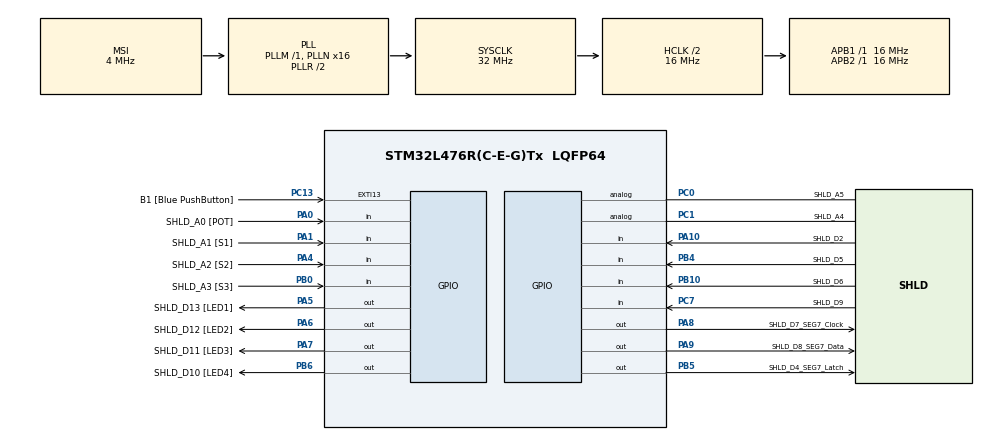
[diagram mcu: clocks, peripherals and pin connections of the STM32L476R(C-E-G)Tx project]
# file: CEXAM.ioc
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Mcu.Family=STM32L4
Mcu.Name=STM32L476R(C-E-G)Tx
Mcu.Package=LQFP64
NVIC.PriorityGroup=NVIC_PRIORITYGROUP_4
PA0.GPIO_Label=SHLD_A0 [POT]
PA0.Signal=GPIO_Input
PA1.GPIO_Label=SHLD_A1 [S1]
PA1.GPIO_PuPd=GPIO_PULLUP
PA1.Signal=GPIO_Input
PA10.GPIO_Label=SHLD_D2
PA10.Signal=GPIO_Input
PA13\ (JTMS-SWDIO).GPIO_Label=TMS
PA13\ (JTMS-SWDIO).Mode=Serial_Wire
PA13\ (JTMS-SWDIO).Signal=SYS_JTMS-SWDIO
PA14\ (JTCK-SWCLK).GPIO_Label=TCK
PA14\ (JTCK-SWCLK).Mode=Serial_Wire
PA14\ (JTCK-SWCLK).Signal=SYS_JTCK-SWCLK
PA2.GPIO_Label=USART_TX [SHLD_D1]
PA2.GPIO_Mode=GPIO_MODE_AF_PP
PA2.GPIO_PuPd=GPIO_NOPULL
PA2.GPIO_Speed=GPIO_SPEED_FREQ_VERY_HIGH
PA2.Signal=USART2_TX
PA3.GPIO_Label=USART_RX [SHLD_D0]
PA3.GPIO_Mode=GPIO_MODE_AF_PP
PA3.GPIO_PuPd=GPIO_NOPULL
PA3.GPIO_Speed=GPIO_SPEED_FREQ_VERY_HIGH
PA3.Signal=USART2_RX
PA4.GPIO_Label=SHLD_A2 [S2]
PA4.GPIO_PuPd=GPIO_PULLUP
PA4.Signal=GPIO_Input
PA5.GPIO_Label=SHLD_D13 [LED1]
PA5.PinState=GPIO_PIN_SET
PA5.Signal=GPIO_Output
PA6.GPIO_Label=SHLD_D12 [LED2]
PA6.PinState=GPIO_PIN_SET
PA6.Signal=GPIO_Output
PA7.GPIO_Label=SHLD_D11 [LED3]
PA7.PinState=GPIO_PIN_SET
PA7.Signal=GPIO_Output
PA8.GPIO_Label=SHLD_D7_SEG7_Clock
PA8.PinState=GPIO_PIN_SET
PA8.Signal=GPIO_Output
PA9.GPIO_Label=SHLD_D8_SEG7_Data
PA9.GPIO_ModeDefaultOutputPP=GPIO_MODE_OUTPUT_PP
PA9.GPIO_Speed=GPIO_SPEED_FREQ_MEDIUM
PA9.PinState=GPIO_PIN_SET
PA9.Signal=GPIO_Output
PB0.GPIO_Label=SHLD_A3 [S3]
PB0.GPIO_PuPd=GPIO_PULLUP
PB0.Signal=GPIO_Input
PB10.GPIO_Label=SHLD_D6
PB10.Signal=GPIO_Input
PB3\ (JTDO-TRACESWO).Signal=SYS_JTDO-SWO
PB4\ (NJTRST).GPIO_Label=SHLD_D5
PB4\ (NJTRST).Signal=GPIO_Input
PB5.GPIO_Label=SHLD_D4_SEG7_Latch
PB5.GPIO_Speed=GPIO_SPEED_FREQ_HIGH
PB5.PinState=GPIO_PIN_SET
PB5.Signal=GPIO_Output
PB6.GPIO_FM6=__NULL
PB6.GPIO_Label=SHLD_D10 [LED4]
PB6.PinState=GPIO_PIN_SET
PB6.Signal=GPIO_Output
PB8.GPIO_Label=SHLD_D15
PB8.Signal=I2C1_SCL
PB9.GPIO_Label=SHLD_D14
PB9.Signal=I2C1_SDA
PC0.GPIO_Label=SHLD_A5
PC0.Signal=GPIO_Analog
PC1.GPIO_Label=SHLD_A4
PC1.Signal=SharedAnalog_PC1
PC13.GPIO_Label=B1 [Blue PushButton]
PC13.GPIO_ModeDefaultEXTI=GPIO_MODE_IT_FALLING
PC13.GPIO_PuPd=GPIO_NOPULL
PC13.Signal=GPXTI13
PC14-OSC32_IN\ (PC14).Mode=LSE-External-Oscillator
PC14-OSC32_IN\ (PC14).Signal=RCC_OSC32_IN
PC15-OSC32_OUT\ (PC15).Mode=LSE-External-Oscillator
PC15-OSC32_OUT\ (PC15).Signal=RCC_OSC32_OUT
PC7.GPIO_Label=SHLD_D9
PC7.Signal=GPIO_Input
PH0-OSC_IN\ (PH0).Signal=RCC_OSC_IN
PH1-OSC_OUT\ (PH1).Signal=RCC_OSC_OUT
ProjectManager.HeapSize=0x200
ProjectManager.StackSize=0x400
ProjectManager.TargetToolchain=STM32CubeIDE
RCC.ADCFreq_Value=16000000
RCC.AHBCLKDivider=RCC_SYSCLK_DIV2
RCC.AHBFreq_Value=16000000
RCC.APB1Freq_Value=16000000
RCC.APB1TimFreq_Value=16000000
RCC.APB2Freq_Value=16000000
RCC.APB2TimFreq_Value=16000000
RCC.CortexFreq_Value=16000000
RCC.HCLKFreq_Value=16000000
RCC.HSE_VALUE=8000000
RCC.HSI_VALUE=16000000
RCC.MSI_VALUE=4000000
RCC.PLLN=16
RCC.PREFETCH_ENABLE=1
RCC.SYSCLKFreq_VALUE=32000000
RCC.SYSCLKSource=RCC_SYSCLKSOURCE_PLLCLK
RCC.USBFreq_Value=16000000
RCC.VCOOutputFreq_Value=64000000
SH.SharedAnalog_PC1.0=GPIO_Analog
SH.SharedAnalog_PC1.1=ADC1_IN2
TIM2.Prescaler=15999
VP_TIM2_VS_ClockSourceINT.Mode=Internal
board=NUCLEO-L476RG

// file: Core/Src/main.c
/* USER CODE BEGIN Header */
/**
  ******************************************************************************
  * @file           : main.c
  * @brief          : 563 EXAM
  ******************************************************************************
  * @attention
  *
  *  Please Read all instructions and only put your code in the areas provided
  *
  ******************************************************************************
  */
/* USER CODE END Header */
#include "main.h"

/* USER CODE BEGIN Includes */
#include "stdlib.h"
#include "ctype.h"
#include "stdio.h"

/* USER CODE END Includes */

TIM_HandleTypeDef htim2;

void SystemClock_Config(void);
static void MX_GPIO_Init(void);
static void MX_TIM2_Init(void);

/* USER CODE BEGIN 0 */

// function prototypes for programming examination functions -- do not change
void function_one( void ) ;
void function_two( void ) ;
void function_three( void ) ;

// Checks for Button key presses
// Calls function_one when the S1 button is pressed.
// Calls function_two when the S2 button is pressed.
//
// DO NOT CHANGE this function.
void check_btns()
{

	// Start Counter DISPLAY
	if (HAL_GPIO_ReadPin(SHLD_A1_GPIO_Port, SHLD_A1_Pin)==GPIO_PIN_RESET) {
		function_one();																	//your function
		while(HAL_GPIO_ReadPin(SHLD_A1_GPIO_Port, SHLD_A1_Pin)==GPIO_PIN_RESET);
	}

	// Stop counter DISPLAY
	if(HAL_GPIO_ReadPin(SHLD_A2_GPIO_Port, SHLD_A2_Pin)==GPIO_PIN_RESET){
		function_two() ;																//your function
		while(HAL_GPIO_ReadPin(SHLD_A2_GPIO_Port, SHLD_A2_Pin)==GPIO_PIN_RESET);
	}

}

// Returns the current count value from timer 2.
// DO NOT CHANGE this function.
uint32_t get_timer2_count()
{
	return TIM2->CNT ;
}

// Turns on  LED if "on" parameter is non-zero, turns it DIM if zero.
// Note inverted logic as pull down (low) activates LED
// DO NOT CHANGE this function.
void set_led_1( uint32_t on )
{
	if ( on ) // a5
		HAL_GPIO_WritePin(SHLD_D13_GPIO_Port, SHLD_D13_Pin, GPIO_PIN_RESET);
	else
		HAL_GPIO_WritePin(SHLD_D13_GPIO_Port, SHLD_D13_Pin, GPIO_PIN_SET);
}

void set_led_2( uint32_t on )
{
	if ( on ) //a6
		HAL_GPIO_WritePin(SHLD_D12_GPIO_Port, SHLD_D12_Pin, GPIO_PIN_RESET);
	else
		HAL_GPIO_WritePin(SHLD_D12_GPIO_Port, SHLD_D12_Pin, GPIO_PIN_SET);
}

void set_led_3( uint32_t on )
{
	if ( on ) //a7
		HAL_GPIO_WritePin(SHLD_D11_GPIO_Port, SHLD_D11_Pin, GPIO_PIN_RESET);
	else
		HAL_GPIO_WritePin(SHLD_D11_GPIO_Port, SHLD_D11_Pin, GPIO_PIN_SET);
}

void set_led_4( uint32_t on )
{
	if ( on )
		HAL_GPIO_WritePin(SHLD_D10_GPIO_Port, SHLD_D10_Pin, GPIO_PIN_RESET);
	else
		HAL_GPIO_WritePin(SHLD_D10_GPIO_Port, SHLD_D10_Pin, GPIO_PIN_SET);
}

////////////////////////// 7-segment stuff /////////////////////////////////////////////

/// Do nothing HERE!
void shiftOut(GPIO_TypeDef* data_port, uint16_t data_pin, GPIO_TypeDef* clock_port, uint16_t clock_pin, uint8_t value) {
	for(int ii=0x80; ii; ii>>=1) {
		HAL_GPIO_WritePin(clock_port, clock_pin, GPIO_PIN_RESET);
		HAL_GPIO_WritePin(data_port, data_pin, (value&ii)!=0);
		HAL_GPIO_WritePin(clock_port, clock_pin, GPIO_PIN_SET);
	}
}

/* USER CODE END 0 */

int main(void)
{

  /* MCU Configuration--------------------------------------------------------*/

  /* Reset of all peripherals, Initializes the Flash interface and the Systick. */
  HAL_Init();

  /* Configure the system clock */
  SystemClock_Config();

  /* Initialize all configured peripherals */
  MX_GPIO_Init();
  MX_TIM2_Init();
  /* USER CODE BEGIN 2 */
  HAL_TIM_Base_Start(&htim2);						// Starts the timer for you!

  // Clears the 7 Seg Display
  HAL_GPIO_WritePin(SHLD_D4_SEG7_Latch_GPIO_Port, SHLD_D4_SEG7_Latch_Pin, GPIO_PIN_RESET);
  shiftOut(SHLD_D8_SEG7_Data_GPIO_Port, SHLD_D8_SEG7_Data_Pin, SHLD_D7_SEG7_Clock_GPIO_Port, SHLD_D7_SEG7_Clock_Pin, 0);
  shiftOut(SHLD_D8_SEG7_Data_GPIO_Port, SHLD_D8_SEG7_Data_Pin, SHLD_D7_SEG7_Clock_GPIO_Port, SHLD_D7_SEG7_Clock_Pin, 0);
  HAL_GPIO_WritePin(SHLD_D4_SEG7_Latch_GPIO_Port, SHLD_D4_SEG7_Latch_Pin, GPIO_PIN_SET);	// latch data

  /* USER CODE END 2 */

  /* Infinite loop */
  /* USER CODE BEGIN WHILE */
  /* DO NOT MODIFY ANYTHING HERE this loop must run continuously for your program to work */
  while (1)
  {
	  check_btns();				  /* DO NOT MODIFY ANYTHING HERE */
	  function_three();
	  HAL_GPIO_WritePin(SHLD_D10_GPIO_Port, SHLD_D10_Pin, !(__HAL_TIM_GET_COUNTER(&htim2)& 0x3c0));
    /* USER CODE END WHILE */

  }
}

void SystemClock_Config(void)
{
  RCC_OscInitTypeDef RCC_OscInitStruct = {0};
  RCC_ClkInitTypeDef RCC_ClkInitStruct = {0};

  /** Configure the main internal regulator output voltage
  */
  if (HAL_PWREx_ControlVoltageScaling(PWR_REGULATOR_VOLTAGE_SCALE1) != HAL_OK)
  {
    Error_Handler();
  }

  /** Configure LSE Drive Capability
  */
  HAL_PWR_EnableBkUpAccess();
  __HAL_RCC_LSEDRIVE_CONFIG(RCC_LSEDRIVE_LOW);

  /** Initializes the RCC Oscillators according to the specified parameters
  * in the RCC_OscInitTypeDef structure.
  */
  RCC_OscInitStruct.OscillatorType = RCC_OSCILLATORTYPE_LSE|RCC_OSCILLATORTYPE_MSI;
  RCC_OscInitStruct.LSEState = RCC_LSE_ON;
  RCC_OscInitStruct.MSIState = RCC_MSI_ON;
  RCC_OscInitStruct.MSICalibrationValue = 0;
  RCC_OscInitStruct.MSIClockRange = RCC_MSIRANGE_6;
  RCC_OscInitStruct.PLL.PLLState = RCC_PLL_ON;
  RCC_OscInitStruct.PLL.PLLSource = RCC_PLLSOURCE_MSI;
  RCC_OscInitStruct.PLL.PLLM = 1;
  RCC_OscInitStruct.PLL.PLLN = 16;
  RCC_OscInitStruct.PLL.PLLP = RCC_PLLP_DIV7;
  RCC_OscInitStruct.PLL.PLLQ = RCC_PLLQ_DIV2;
  RCC_OscInitStruct.PLL.PLLR = RCC_PLLR_DIV2;
  if (HAL_RCC_OscConfig(&RCC_OscInitStruct) != HAL_OK)
  {
    Error_Handler();
  }

  /** Initializes the CPU, AHB and APB buses clocks
  */
  RCC_ClkInitStruct.ClockType = RCC_CLOCKTYPE_HCLK|RCC_CLOCKTYPE_SYSCLK
                              |RCC_CLOCKTYPE_PCLK1|RCC_CLOCKTYPE_PCLK2;
  RCC_ClkInitStruct.SYSCLKSource = RCC_SYSCLKSOURCE_PLLCLK;
  RCC_ClkInitStruct.AHBCLKDivider = RCC_SYSCLK_DIV2;
  RCC_ClkInitStruct.APB1CLKDivider = RCC_HCLK_DIV1;
  RCC_ClkInitStruct.APB2CLKDivider = RCC_HCLK_DIV1;

  if (HAL_RCC_ClockConfig(&RCC_ClkInitStruct, FLASH_LATENCY_0) != HAL_OK)
  {
    Error_Handler();
  }

  /** Enable MSI Auto calibration
  */
  HAL_RCCEx_EnableMSIPLLMode();
}

static void MX_TIM2_Init(void)
{

  TIM_ClockConfigTypeDef sClockSourceConfig = {0};
  TIM_MasterConfigTypeDef sMasterConfig = {0};

  htim2.Instance = TIM2;
  htim2.Init.Prescaler = 15999;
  htim2.Init.CounterMode = TIM_COUNTERMODE_UP;
  htim2.Init.Period = 4294967295;
  htim2.Init.ClockDivision = TIM_CLOCKDIVISION_DIV1;
  htim2.Init.AutoReloadPreload = TIM_AUTORELOAD_PRELOAD_DISABLE;
  if (HAL_TIM_Base_Init(&htim2) != HAL_OK)
  {
    Error_Handler();
  }
  sClockSourceConfig.ClockSource = TIM_CLOCKSOURCE_INTERNAL;
  if (HAL_TIM_ConfigClockSource(&htim2, &sClockSourceConfig) != HAL_OK)
  {
    Error_Handler();
  }
  sMasterConfig.MasterOutputTrigger = TIM_TRGO_RESET;
  sMasterConfig.MasterSlaveMode = TIM_MASTERSLAVEMODE_DISABLE;
  if (HAL_TIMEx_MasterConfigSynchronization(&htim2, &sMasterConfig) != HAL_OK)
  {
    Error_Handler();
  }

}

static void MX_GPIO_Init(void)
{
  GPIO_InitTypeDef GPIO_InitStruct = {0};

  /* GPIO Ports Clock Enable */
  __HAL_RCC_GPIOC_CLK_ENABLE();
  __HAL_RCC_GPIOH_CLK_ENABLE();
  __HAL_RCC_GPIOA_CLK_ENABLE();
  __HAL_RCC_GPIOB_CLK_ENABLE();

  /*Configure GPIO pin Output Level */
  HAL_GPIO_WritePin(GPIOA, SHLD_D13_Pin|SHLD_D12_Pin|SHLD_D11_Pin|SHLD_D7_SEG7_Clock_Pin
                          |SHLD_D8_SEG7_Data_Pin, GPIO_PIN_SET);

  /*Configure GPIO pin Output Level */
  HAL_GPIO_WritePin(GPIOB, SHLD_D4_SEG7_Latch_Pin|SHLD_D10_Pin, GPIO_PIN_SET);

  /*Configure GPIO pin : B1_Pin */
  GPIO_InitStruct.Pin = B1_Pin;
  GPIO_InitStruct.Mode = GPIO_MODE_IT_FALLING;
  GPIO_InitStruct.Pull = GPIO_NOPULL;
  HAL_GPIO_Init(B1_GPIO_Port, &GPIO_InitStruct);

  /*Configure GPIO pins : SHLD_A5_Pin SHLD_A4_Pin */
  GPIO_InitStruct.Pin = SHLD_A5_Pin|SHLD_A4_Pin;
  GPIO_InitStruct.Mode = GPIO_MODE_ANALOG;
  GPIO_InitStruct.Pull = GPIO_NOPULL;
  HAL_GPIO_Init(GPIOC, &GPIO_InitStruct);

  /*Configure GPIO pins : SHLD_A0_Pin SHLD_D2_Pin */
  GPIO_InitStruct.Pin = SHLD_A0_Pin|SHLD_D2_Pin;
  GPIO_InitStruct.Mode = GPIO_MODE_INPUT;
  GPIO_InitStruct.Pull = GPIO_NOPULL;
  HAL_GPIO_Init(GPIOA, &GPIO_InitStruct);

  /*Configure GPIO pins : SHLD_A1_Pin SHLD_A2_Pin */
  GPIO_InitStruct.Pin = SHLD_A1_Pin|SHLD_A2_Pin;
  GPIO_InitStruct.Mode = GPIO_MODE_INPUT;
  GPIO_InitStruct.Pull = GPIO_PULLUP;
  HAL_GPIO_Init(GPIOA, &GPIO_InitStruct);

  /*Configure GPIO pins : USART_TX_Pin USART_RX_Pin */
  GPIO_InitStruct.Pin = USART_TX_Pin|USART_RX_Pin;
  GPIO_InitStruct.Mode = GPIO_MODE_AF_PP;
  GPIO_InitStruct.Pull = GPIO_NOPULL;
  GPIO_InitStruct.Speed = GPIO_SPEED_FREQ_VERY_HIGH;
  GPIO_InitStruct.Alternate = GPIO_AF7_USART2;
  HAL_GPIO_Init(GPIOA, &GPIO_InitStruct);

  /*Configure GPIO pins : SHLD_D13_Pin SHLD_D12_Pin SHLD_D11_Pin SHLD_D7_SEG7_Clock_Pin */
  GPIO_InitStruct.Pin = SHLD_D13_Pin|SHLD_D12_Pin|SHLD_D11_Pin|SHLD_D7_SEG7_Clock_Pin;
  GPIO_InitStruct.Mode = GPIO_MODE_OUTPUT_PP;
  GPIO_InitStruct.Pull = GPIO_NOPULL;
  GPIO_InitStruct.Speed = GPIO_SPEED_FREQ_LOW;
  HAL_GPIO_Init(GPIOA, &GPIO_InitStruct);

  /*Configure GPIO pin : SHLD_A3_Pin */
  GPIO_InitStruct.Pin = SHLD_A3_Pin;
  GPIO_InitStruct.Mode = GPIO_MODE_INPUT;
  GPIO_InitStruct.Pull = GPIO_PULLUP;
  HAL_GPIO_Init(SHLD_A3_GPIO_Port, &GPIO_InitStruct);

  /*Configure GPIO pins : SHLD_D6_Pin SHLD_D5_Pin */
  GPIO_InitStruct.Pin = SHLD_D6_Pin|SHLD_D5_Pin;
  GPIO_InitStruct.Mode = GPIO_MODE_INPUT;
  GPIO_InitStruct.Pull = GPIO_NOPULL;
  HAL_GPIO_Init(GPIOB, &GPIO_InitStruct);

  /*Configure GPIO pin : SHLD_D9_Pin */
  GPIO_InitStruct.Pin = SHLD_D9_Pin;
  GPIO_InitStruct.Mode = GPIO_MODE_INPUT;
  GPIO_InitStruct.Pull = GPIO_NOPULL;
  HAL_GPIO_Init(SHLD_D9_GPIO_Port, &GPIO_InitStruct);

  /*Configure GPIO pin : SHLD_D8_SEG7_Data_Pin */
  GPIO_InitStruct.Pin = SHLD_D8_SEG7_Data_Pin;
  GPIO_InitStruct.Mode = GPIO_MODE_OUTPUT_PP;
  GPIO_InitStruct.Pull = GPIO_NOPULL;
  GPIO_InitStruct.Speed = GPIO_SPEED_FREQ_MEDIUM;
  HAL_GPIO_Init(SHLD_D8_SEG7_Data_GPIO_Port, &GPIO_InitStruct);

  /*Configure GPIO pin : SHLD_D4_SEG7_Latch_Pin */
  GPIO_InitStruct.Pin = SHLD_D4_SEG7_Latch_Pin;
  GPIO_InitStruct.Mode = GPIO_MODE_OUTPUT_PP;
  GPIO_InitStruct.Pull = GPIO_NOPULL;
  GPIO_InitStruct.Speed = GPIO_SPEED_FREQ_HIGH;
  HAL_GPIO_Init(SHLD_D4_SEG7_Latch_GPIO_Port, &GPIO_InitStruct);

  /*Configure GPIO pin : SHLD_D10_Pin */
  GPIO_InitStruct.Pin = SHLD_D10_Pin;
  GPIO_InitStruct.Mode = GPIO_MODE_OUTPUT_PP;
  GPIO_InitStruct.Pull = GPIO_NOPULL;
  GPIO_InitStruct.Speed = GPIO_SPEED_FREQ_LOW;
  HAL_GPIO_Init(SHLD_D10_GPIO_Port, &GPIO_InitStruct);

  /*Configure GPIO pins : SHLD_D15_Pin SHLD_D14_Pin */
  GPIO_InitStruct.Pin = SHLD_D15_Pin|SHLD_D14_Pin;
  GPIO_InitStruct.Mode = GPIO_MODE_AF_OD;
  GPIO_InitStruct.Pull = GPIO_NOPULL;
  GPIO_InitStruct.Speed = GPIO_SPEED_FREQ_VERY_HIGH;
  GPIO_InitStruct.Alternate = GPIO_AF4_I2C1;
  HAL_GPIO_Init(GPIOB, &GPIO_InitStruct);

}

/* USER CODE BEGIN 4 */

///////////////////////////////////////////////////////////////////////////////
// Implement the three functions described below. You are allowed to         //
// add data declarations outside the functions if you find that helpful.     //
// Only enter your code below this comment block. Do not change any code     //
// above this comment block. However, you can call any of the functions      //
// that are provided above. Or any HAL routines you might find helpful.      //
///////////////////////////////////////////////////////////////////////////////

uint32_t is_running = 0 ;		// boolean flag to control whether or not we are running.

// This function is called when the S1-A1 button is pressed.
//
// The purpose of this function is to enable the counter display
// in function_three. An appropriate name for this function would be "start".
// Tip -- Do NOT change the LEDs in this function. Your code in this function
//        should be very simple!
void function_one()
{
	is_running = 1;
}

// This function is called when the S2-A2 button is pressed.
//
// The purpose of this function is to disable the counter display
// in function_three. An appropriate name for this function would be "stop".
// Tip -- Do NOT change the LEDs in this function. Your code in this function
//        should be very simple!
void function_two()
{
	is_running = 0;
}

// This function is called from the infinite loop in main
// right after the buttons are checked.
//
// This function must implement a simple 3 bit counter display using the D1,D2,D3 LEDs
// that changes state every 1.024 seconds. This interval was chosen to simplify your code!
// NOTE -- This 3 bit BINARY COUNTER only runs when it is enabled by function_one.
//         It stops when disabled by function_two.
//
// The D1 LED turns dim for exactly 1.024 seconds and on for exactly 1.024 seconds. This represents bit 0.
// The D2 LED turns dim for exactly 2.048 seconds and on for exactly 2.048 seconds. This represents bit 1.
// The D3 LED turns dim for exactly 4.096 seconds and on for exactly 4.096 seconds. This represents bit 2.

// For full credit these LEDs must be turn on and off exactly as described in this 8.192 second cycle:
// 1. at 0.000 seconds -- the D1 LED is    dim; the D2 LED is    dim; the D3 LED is    dim;
// 2. at 1.024 seconds -- the D1 LED turns on ; the D2 LED stays dim; the D3 LED stays dim;
// 3. at 2.048 seconds -- the D1 LED turns dim; the D2 LED turns on ; the D3 LED stays dim;
// 4. at 3.072 seconds -- the D1 LED turns on ; the D2 LED stays on ; the D3 LED stays dim;
// 5. at 4.096 seconds -- the D1 LED turns dim; the D2 LED turns dim; the D3 LED turns on ;
// 6. at 5.120 seconds -- the D1 LED turns on ; the D2 LED stays dim; the D3 LED stays on ;
// 7. at 6.144 seconds -- the D1 LED turns dim; the D2 LED turns on ; the D3 LED stays on ;
// 8. at 7.168 seconds -- the D1 LED turns on ; the D2 LED turns on ; the D3 LED stays on ;
// 9. at 8.192 seconds the cycle starts at step (1) 0.0000 seconds.
// Keep repeating this cycle forever.
//
// NOTE -- The LED's show a low level illumination (DIM) while off and are very bright while on.
// NOTE -- your code will be inspected to confirm this exact timing.

void function_three()
{
	uint32_t off = 0;

	if(is_running == 1)
	{
		uint32_t count = get_timer2_count();

		switch (count)
		{
			case 0:
				set_led_1(0);
				set_led_2(0);
				set_led_3(0);
				set_led_4(0);
				break;
			case 1024:
				set_led_1(1);
				break;
			case 2048:
				set_led_1(0);
				set_led_2(1);
				break;
			case 3072:
				set_led_1(1);
				set_led_2(1);
				break;
			case 4096:
				set_led_1(0);
				set_led_2(0);
				set_led_3(1);
				break;
			case 5120:
				set_led_1(1);
				set_led_2(0);
				set_led_3(1);
				break;
			case 6144:
				set_led_1(0);
				set_led_2(1);
				break;
			case 7168:
				set_led_1(1);
				set_led_2(1);
		}
		if(count > 8192)
		{
			TIM2->CNT = 0;
		}
	}

}

/* USER CODE END 4 */

void Error_Handler(void)
{
  __disable_irq();
  while (1)
  {
  }
}
